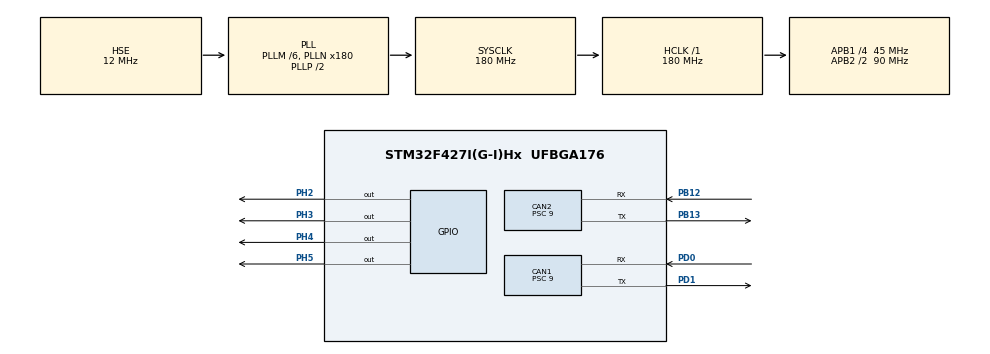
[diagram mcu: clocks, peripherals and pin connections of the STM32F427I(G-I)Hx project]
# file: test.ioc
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CAN1.BS1=CAN_BS1_2TQ
CAN1.BS2=CAN_BS2_2TQ
CAN1.CalculateBaudRate=1000000
CAN1.CalculateTimeBit=1000
CAN1.CalculateTimeQuantum=200.0
CAN1.Prescaler=9
CAN2.BS1=CAN_BS1_2TQ
CAN2.BS2=CAN_BS2_2TQ
CAN2.CalculateBaudRate=1000000
CAN2.CalculateTimeBit=1000
CAN2.CalculateTimeQuantum=200.0
CAN2.Prescaler=9
Mcu.Family=STM32F4
Mcu.Name=STM32F427I(G-I)Hx
Mcu.Package=UFBGA176
NVIC.PriorityGroup=NVIC_PRIORITYGROUP_4
PA13.Mode=Serial_Wire
PA13.Signal=SYS_JTMS-SWDIO
PA14.Mode=Serial_Wire
PA14.Signal=SYS_JTCK-SWCLK
PB12.Mode=CAN_Activate
PB12.Signal=CAN2_RX
PB13.Mode=CAN_Activate
PB13.Signal=CAN2_TX
PD0.Mode=CAN_Activate
PD0.Signal=CAN1_RX
PD1.Mode=CAN_Activate
PD1.Signal=CAN1_TX
PH0/OSC_IN.Mode=HSE-External-Oscillator
PH0/OSC_IN.Signal=RCC_OSC_IN
PH1/OSC_OUT.Mode=HSE-External-Oscillator
PH1/OSC_OUT.Signal=RCC_OSC_OUT
PH2.GPIO_ModeDefaultOutputPP=GPIO_MODE_OUTPUT_PP
PH2.GPIO_PuPd=GPIO_PULLUP
PH2.GPIO_Speed=GPIO_SPEED_FREQ_LOW
PH2.PinState=GPIO_PIN_RESET
PH2.Signal=GPIO_Output
PH3.GPIO_ModeDefaultOutputPP=GPIO_MODE_OUTPUT_PP
PH3.GPIO_PuPd=GPIO_PULLUP
PH3.GPIO_Speed=GPIO_SPEED_FREQ_LOW
PH3.PinState=GPIO_PIN_RESET
PH3.Signal=GPIO_Output
PH4.GPIO_ModeDefaultOutputPP=GPIO_MODE_OUTPUT_PP
PH4.GPIO_PuPd=GPIO_PULLUP
PH4.GPIO_Speed=GPIO_SPEED_FREQ_LOW
PH4.PinState=GPIO_PIN_RESET
PH4.Signal=GPIO_Output
PH5.GPIO_ModeDefaultOutputPP=GPIO_MODE_OUTPUT_PP
PH5.GPIO_PuPd=GPIO_PULLUP
PH5.GPIO_Speed=GPIO_SPEED_FREQ_LOW
PH5.PinState=GPIO_PIN_RESET
PH5.Signal=GPIO_Output
ProjectManager.HeapSize=0x200
ProjectManager.StackSize=0x400
ProjectManager.TargetToolchain=MDK-ARM V5.32
RCC.48MHZClocksFreq_Value=90000000
RCC.AHBFreq_Value=180000000
RCC.APB1CLKDivider=RCC_HCLK_DIV4
RCC.APB1Freq_Value=45000000
RCC.APB1TimFreq_Value=90000000
RCC.APB2CLKDivider=RCC_HCLK_DIV2
RCC.APB2Freq_Value=90000000
RCC.APB2TimFreq_Value=180000000
RCC.CortexFreq_Value=180000000
RCC.HCLKFreq_Value=180000000
RCC.HSE_VALUE=12000000
RCC.HSI_VALUE=16000000
RCC.LSE_VALUE=32768
RCC.PLLM=6
RCC.PLLN=180
RCC.PLLSourceVirtual=RCC_PLLSOURCE_HSE
RCC.SYSCLKFreq_VALUE=180000000
RCC.SYSCLKSource=RCC_SYSCLKSOURCE_PLLCLK
RCC.VCOOutputFreq_Value=360000000
board=custom

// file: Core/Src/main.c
/* USER CODE BEGIN Header */
/**
  ******************************************************************************
  * @file           : main.c
  * @brief          : Main program body
  ******************************************************************************
  * @attention
  *
  * Copyright (c) 2025 STMicroelectronics.
  * All rights reserved.
  *
  * This software is licensed under terms that can be found in the LICENSE file
  * in the root directory of this software component.
  * If no LICENSE file comes with this software, it is provided AS-IS.
  *
  ******************************************************************************
  */
/* USER CODE END Header */
#include "main.h"
#include "can.h"
#include "gpio.h"

/* USER CODE BEGIN Includes */

#include "drv_bsp.h"
#include "drv_can.h"

/* USER CODE END Includes */

/* USER CODE BEGIN PM */

// 接收队列
#define CAN_FIFO_0 (0 << 2)
#define CAN_FIFO_1 (1 << 2)

// 标准帧或扩展帧
#define CAN_STDID (0 << 1)
#define CAN_EXTID (1 << 1)

// 数据帧或遥控帧
#define CAN_DATA_TYPE (0 << 0)
#define CAN_REMOTE_TYPE (1 << 0)

/* USER CODE END PM */

void SystemClock_Config(void);

/* USER CODE BEGIN 0 */

void NULL_Call_Back(struct Struct_CAN_Rx_Buffer *Rx_Buffer){}

/* USER CODE END 0 */

int main(void)
{

  /* MCU Configuration--------------------------------------------------------*/

  /* Reset of all peripherals, Initializes the Flash interface and the Systick. */
  HAL_Init();

  /* Configure the system clock */
  SystemClock_Config();

  /* Initialize all configured peripherals */
  MX_GPIO_Init();
  MX_CAN1_Init();
  MX_CAN2_Init();
  /* USER CODE BEGIN 2 */

  BSP_Init(BSP_DC24_LD_ON,0,0);
  CAN_Init(&hcan1,NULL_Call_Back);

  /* USER CODE END 2 */

  /* Infinite loop */
  /* USER CODE BEGIN WHILE */
  int16_t torque = 0;
  while (1)
  {
    while(torque < 1000){
      torque += 50;
      CAN1_0x200_Tx_Data[0] = torque >> 8;
      CAN1_0x200_Tx_Data[1] = torque;
      CAN_Send_Data(&hcan1,0x200,CAN1_0x200_Tx_Data,8);
      HAL_Delay(50);
    }
    while(torque > -1000){
      torque -= 50;
      CAN1_0x200_Tx_Data[0] = torque >> 8;
      CAN1_0x200_Tx_Data[1] = torque;
      CAN_Send_Data(&hcan1,0x200,CAN1_0x200_Tx_Data,8);
      HAL_Delay(50);
    }
    /* USER CODE END WHILE */

  }
}

void SystemClock_Config(void)
{
  RCC_OscInitTypeDef RCC_OscInitStruct = {0};
  RCC_ClkInitTypeDef RCC_ClkInitStruct = {0};

  /** Configure the main internal regulator output voltage
  */
  __HAL_RCC_PWR_CLK_ENABLE();
  __HAL_PWR_VOLTAGESCALING_CONFIG(PWR_REGULATOR_VOLTAGE_SCALE1);

  /** Initializes the RCC Oscillators according to the specified parameters
  * in the RCC_OscInitTypeDef structure.
  */
  RCC_OscInitStruct.OscillatorType = RCC_OSCILLATORTYPE_HSE;
  RCC_OscInitStruct.HSEState = RCC_HSE_ON;
  RCC_OscInitStruct.PLL.PLLState = RCC_PLL_ON;
  RCC_OscInitStruct.PLL.PLLSource = RCC_PLLSOURCE_HSE;
  RCC_OscInitStruct.PLL.PLLM = 6;
  RCC_OscInitStruct.PLL.PLLN = 180;
  RCC_OscInitStruct.PLL.PLLP = RCC_PLLP_DIV2;
  RCC_OscInitStruct.PLL.PLLQ = 4;
  if (HAL_RCC_OscConfig(&RCC_OscInitStruct) != HAL_OK)
  {
    Error_Handler();
  }

  /** Activate the Over-Drive mode
  */
  if (HAL_PWREx_EnableOverDrive() != HAL_OK)
  {
    Error_Handler();
  }

  /** Initializes the CPU, AHB and APB buses clocks
  */
  RCC_ClkInitStruct.ClockType = RCC_CLOCKTYPE_HCLK|RCC_CLOCKTYPE_SYSCLK
                              |RCC_CLOCKTYPE_PCLK1|RCC_CLOCKTYPE_PCLK2;
  RCC_ClkInitStruct.SYSCLKSource = RCC_SYSCLKSOURCE_PLLCLK;
  RCC_ClkInitStruct.AHBCLKDivider = RCC_SYSCLK_DIV1;
  RCC_ClkInitStruct.APB1CLKDivider = RCC_HCLK_DIV4;
  RCC_ClkInitStruct.APB2CLKDivider = RCC_HCLK_DIV2;

  if (HAL_RCC_ClockConfig(&RCC_ClkInitStruct, FLASH_LATENCY_5) != HAL_OK)
  {
    Error_Handler();
  }
}

void Error_Handler(void)
{
  __disable_irq();
  while (1)
  {
  }
}
